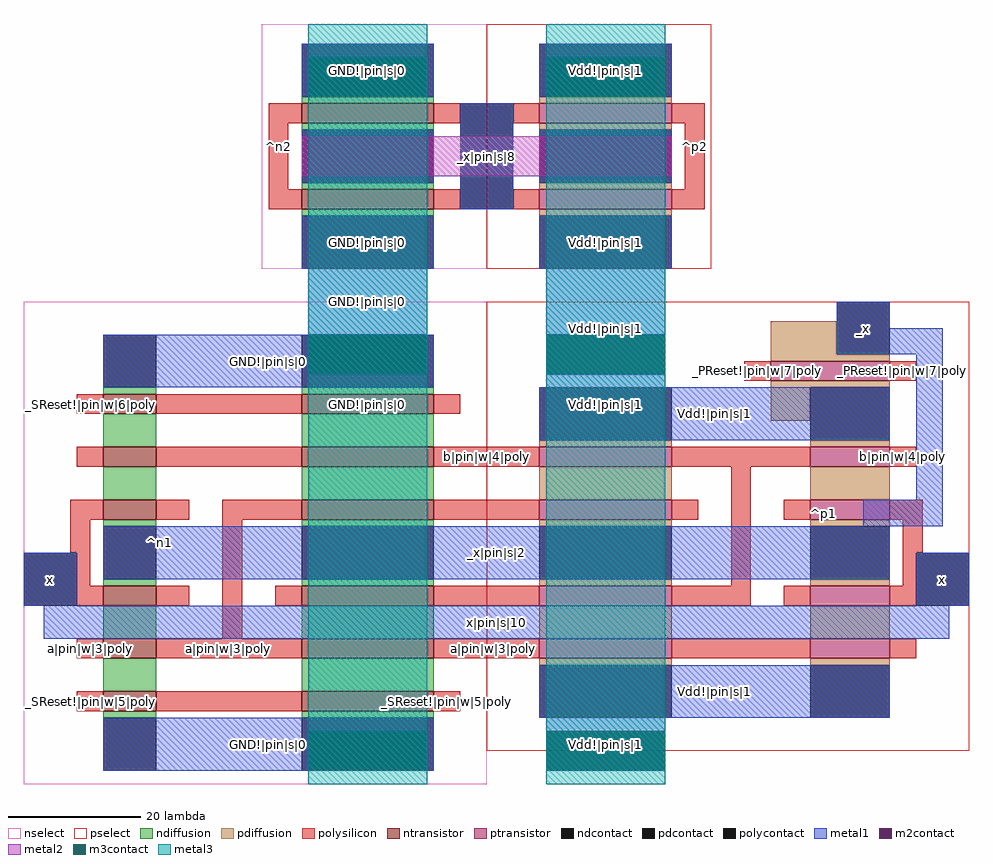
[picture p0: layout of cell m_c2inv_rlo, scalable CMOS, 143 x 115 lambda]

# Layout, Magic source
magic
tech scmos
<< nselect >>
rect -34 36 0 73
rect -70 -42 0 31
<< pselect >>
rect 0 36 34 73
rect 0 -37 73 31
<< ndiffusion >>
rect -28 61 -8 62
rect -28 57 -8 58
rect -28 48 -8 49
rect -28 44 -8 45
rect -58 17 -50 18
rect -28 17 -8 18
rect -58 9 -50 14
rect -28 9 -8 14
rect -58 1 -50 6
rect -28 1 -8 6
rect -58 -3 -50 -2
rect -58 -12 -50 -11
rect -58 -20 -50 -15
rect -28 -3 -8 -2
rect -28 -12 -8 -11
rect -28 -20 -8 -15
rect -58 -28 -50 -23
rect -28 -28 -8 -23
rect -58 -32 -50 -31
rect -28 -32 -8 -31
<< pdiffusion >>
rect 8 61 28 62
rect 8 57 28 58
rect 8 48 28 49
rect 8 44 28 45
rect 43 23 53 28
rect 43 22 61 23
rect 43 18 61 19
rect 43 13 49 18
rect 8 9 28 10
rect 49 9 61 10
rect 8 1 28 6
rect 8 -3 28 -2
rect 8 -12 28 -11
rect 49 1 61 6
rect 49 -3 61 -2
rect 49 -12 61 -11
rect 8 -20 28 -15
rect 49 -20 61 -15
rect 8 -24 28 -23
rect 49 -24 61 -23
<< ntransistor >>
rect -28 58 -8 61
rect -28 45 -8 48
rect -58 14 -50 17
rect -28 14 -8 17
rect -58 6 -50 9
rect -28 6 -8 9
rect -58 -2 -50 1
rect -28 -2 -8 1
rect -58 -15 -50 -12
rect -28 -15 -8 -12
rect -58 -23 -50 -20
rect -28 -23 -8 -20
rect -58 -31 -50 -28
rect -28 -31 -8 -28
<< ptransistor >>
rect 8 58 28 61
rect 8 45 28 48
rect 43 19 61 22
rect 8 6 28 9
rect 49 6 61 9
rect 8 -2 28 1
rect 49 -2 61 1
rect 8 -15 28 -12
rect 49 -15 61 -12
rect 8 -23 28 -20
rect 49 -23 61 -20
<< polysilicon >>
rect -33 58 -28 61
rect -8 58 -4 61
rect -33 48 -30 58
rect -33 45 -28 48
rect -8 45 -4 48
rect 4 58 8 61
rect 28 58 33 61
rect 30 48 33 58
rect 4 45 8 48
rect 28 45 33 48
rect 39 19 43 22
rect 61 19 65 22
rect -62 14 -58 17
rect -50 14 -28 17
rect -8 14 -4 17
rect -62 6 -58 9
rect -50 6 -28 9
rect -8 6 8 9
rect 28 6 49 9
rect 61 6 65 9
rect -63 -2 -58 1
rect -50 -2 -45 1
rect -40 -2 -28 1
rect -8 -2 8 1
rect 28 -2 32 1
rect -63 -7 -60 -2
rect -62 -12 -60 -7
rect -62 -15 -58 -12
rect -50 -15 -45 -12
rect -40 -20 -37 -2
rect 37 -12 40 6
rect 45 -2 49 1
rect 61 -2 66 1
rect 63 -7 66 -2
rect 63 -12 65 -7
rect -32 -15 -28 -12
rect -8 -15 8 -12
rect 28 -15 40 -12
rect 45 -15 49 -12
rect 61 -15 65 -12
rect -62 -23 -58 -20
rect -50 -23 -28 -20
rect -8 -23 8 -20
rect 28 -23 49 -20
rect 61 -23 65 -20
rect -62 -31 -58 -28
rect -50 -31 -28 -28
rect -8 -31 -4 -28
<< ndcontact >>
rect -28 62 -8 70
rect -28 49 -8 57
rect -28 36 -8 44
rect -58 18 -50 26
rect -28 18 -8 26
rect -58 -11 -50 -3
rect -28 -11 -8 -3
rect -58 -40 -50 -32
rect -28 -40 -8 -32
<< pdcontact >>
rect 8 62 28 70
rect 8 49 28 57
rect 8 36 28 44
rect 53 23 61 31
rect 8 10 28 18
rect 49 10 61 18
rect 8 -11 28 -3
rect 49 -11 61 -3
rect 8 -32 28 -24
rect 49 -32 61 -24
<< polycontact >>
rect -4 45 4 61
rect -70 -15 -62 -7
rect 65 -15 73 -7
<< metal1 >>
rect -28 68 -8 70
rect -28 62 -27 68
rect -9 62 -8 68
rect 8 68 28 70
rect 8 62 9 68
rect 26 62 28 68
rect -28 56 -8 57
rect -28 49 -8 50
rect -4 45 4 61
rect 8 56 28 57
rect 8 49 28 50
rect -28 36 -8 44
rect 8 36 28 44
rect -27 26 -9 36
rect 9 26 27 36
rect -58 20 -27 26
rect -9 20 -8 26
rect -58 18 -8 20
rect 53 27 61 31
rect 53 23 69 27
rect 9 18 27 20
rect 8 10 61 18
rect 65 1 69 23
rect 57 -3 69 1
rect -70 -15 -62 -7
rect -58 -11 61 -3
rect 65 -15 73 -7
rect -67 -20 70 -15
rect 8 -32 61 -24
rect -58 -34 -8 -32
rect -58 -40 -27 -34
rect -9 -40 -8 -34
rect 9 -34 27 -32
<< m2contact >>
rect -27 62 -9 68
rect 9 62 26 68
rect -28 50 -8 56
rect 8 50 28 56
rect -27 20 -9 26
rect 9 20 27 26
rect -27 -40 -9 -34
rect 9 -40 27 -34
<< metal2 >>
rect -28 50 28 56
<< m3contact >>
rect -27 62 -9 68
rect 9 62 27 68
rect -27 20 -9 26
rect 9 20 27 26
rect -27 -40 -9 -34
rect 9 -40 27 -34
<< metal3 >>
rect -27 -42 -9 73
rect 9 -42 27 73
<< labels >>
rlabel metal1 -66 -11 -66 -11 1 x
rlabel metal1 69 -11 69 -11 1 x
rlabel metal1 57 27 57 27 5 _x
rlabel space -71 -42 -28 31 7 ^n1
rlabel space 28 -37 74 35 3 ^p1
rlabel space -35 36 -28 73 7 ^n2
rlabel space 28 36 35 73 3 ^p2
rlabel metal3 -27 -42 -9 73 1 GND!|pin|s|0
rlabel metal3 9 -42 27 73 1 Vdd!|pin|s|1
rlabel metal1 -58 -40 -8 -32 1 GND!|pin|s|0
rlabel metal1 -58 18 -8 26 1 GND!|pin|s|0
rlabel metal1 -27 26 -9 36 1 GND!|pin|s|0
rlabel metal1 -28 36 -8 44 1 GND!|pin|s|0
rlabel metal1 -28 62 -8 70 1 GND!|pin|s|0
rlabel metal1 8 -32 61 -24 1 Vdd!|pin|s|1
rlabel metal1 8 10 61 18 1 Vdd!|pin|s|1
rlabel metal1 9 18 27 36 1 Vdd!|pin|s|1
rlabel metal1 8 36 28 44 1 Vdd!|pin|s|1
rlabel metal1 8 62 28 70 1 Vdd!|pin|s|1
rlabel metal1 9 -40 27 -32 1 Vdd!|pin|s|1
rlabel polysilicon -62 -23 -58 -20 1 a|pin|w|3|poly
rlabel polysilicon -41 -23 -37 -20 1 a|pin|w|3|poly
rlabel polysilicon -1 -23 3 -20 1 a|pin|w|3|poly
rlabel polysilicon -2 6 2 9 1 b|pin|w|4|poly
rlabel polysilicon 61 6 65 9 1 b|pin|w|4|poly
rlabel polysilicon -62 -31 -58 -28 1 _SReset!|pin|w|5|poly
rlabel polysilicon -8 -31 -4 -28 1 _SReset!|pin|w|5|poly
rlabel polysilicon -62 14 -58 17 1 _SReset!|pin|w|6|poly
rlabel polysilicon -8 14 -4 17 1 _SReset!|pin|w|6|poly
rlabel polysilicon 39 19 43 22 1 _PReset!|pin|w|7|poly
rlabel polysilicon 61 19 65 22 1 _PReset!|pin|w|7|poly
rlabel metal1 -58 -11 61 -3 1 _x|pin|s|2
rlabel metal1 -4 45 4 61 1 _x|pin|s|8
rlabel metal2 -28 50 28 56 1 x|pin|s|9
rlabel metal1 -67 -20 70 -15 1 x|pin|s|10
<< end >>
